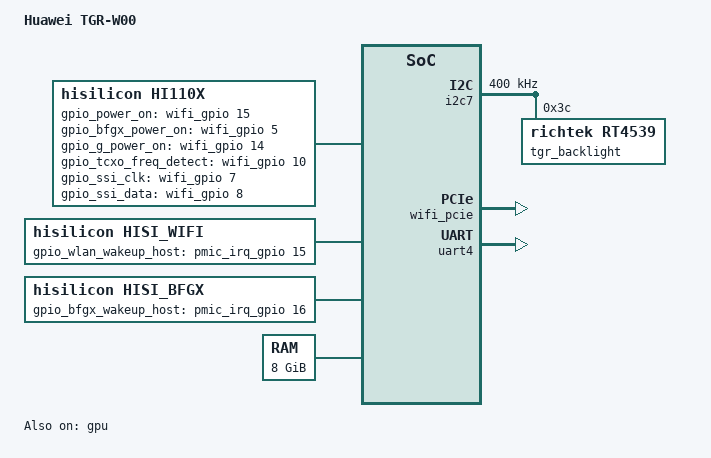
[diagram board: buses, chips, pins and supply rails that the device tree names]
// SPDX-License-Identifier: GPL-2.0
/*
 * Huawei TGR-W00, Hisilicon Kirin 9000s (charlotte)
 */

/dts-v1/;

#include "charlotte.dtsi"

&wifi_pcie {
	status = "okay";
};

&uart4 {
	status = "okay";
};

&gpu {
	status = "okay";
};

/ {
	model = "Huawei TGR-W00";
	compatible = "hisilicon,charlotte";

	hw_connectivity {
		compatible = "huawei,hw_connectivity";
		chip_type = "hisi";
	};

	wifi_customize {
		compatible = "hi110x,customize";
		ini_file_name = "/lib/firmware/hi11xx/cfg_tgr_w00_va.ini";
	};

	hi110x {
		compatible = "hisilicon,hi110x", "hisilicon,hi1102";
		hi110x,subchip_type = "hi1105";
		hi110x,asic_version;
		hi110x,power_prepare;
		hi110x,tcxo_gpio_level = <1>;
		huawei,pmu_clk32b = "clk_pmu32kb";
		hi110x,gpio_power_on = <&wifi_gpio 15 GPIO_ACTIVE_HIGH>;
		hi110x,gpio_wlan_power_on = <&touch_irq 14 GPIO_ACTIVE_HIGH>;
		hi110x,gpio_bfgx_power_on = <&wifi_gpio 5 GPIO_ACTIVE_HIGH>;
		hi110x,gpio_g_power_on = <&wifi_gpio 14 GPIO_ACTIVE_HIGH>;
		hi110x,gpio_tcxo_freq_detect = <&wifi_gpio 10 GPIO_ACTIVE_HIGH>;
		hi110x,gpio_ssi_clk = <&wifi_gpio 7 GPIO_ACTIVE_HIGH>;
		hi110x,gpio_ssi_data = <&wifi_gpio 8 GPIO_ACTIVE_HIGH>;
	};

	hisi_wifi {
		compatible = "hisilicon,hisi_wifi";
		hi110x,pcie_rc_idx = <0>;
		hi110x,gpio_sample_low = <0>;
		hi110x,gpio_host_wakeup_wlan = <&touch_irq 13 GPIO_ACTIVE_HIGH>;
		hi110x,gpio_wlan_wakeup_host = <&pmic_irq_gpio 15 GPIO_ACTIVE_HIGH>;
	};

	hisi_bfgx {
		compatible = "hisilicon,hisi_bfgx";
		hi110x,gpio_bfgx_wakeup_host = <&pmic_irq_gpio 16 GPIO_ACTIVE_HIGH>;
		hi110x,uart_port = "/dev/ttyHW4";
	};

	/* Physical panel metadata from the live stock TGR LCD configuration.
	 * The display hardware remains owned by the firmware handoff.
	 */
	tgr_panel: panel {
		/* Metadata only: no autonomous panel driver is available yet.
		 * Prevent fw_devlink waiting for a supplier that will not bind.
		 */
		status = "disabled";
		width-mm = <173>;
		height-mm = <258>;
	};

	framebuffer@34380000 {
		panel = <&tgr_panel>;
	};

	reserved-memory {
		/* Reusable scanout allocations, independent of the general 32 MiB
		 * CMA pool. Keep DMA below 4 GiB for the handoff diagnostic stage.
		 */
		dpu_cma: dpu-cma {
			compatible = "shared-dma-pool";
			reusable;
			/* Login greeter and user compositor can each keep three
			 * full-size BOs alive during the session transition.
			 */
			size = <0 0x10000000>;
			alignment = <0 0x00200000>;
			alloc-ranges = <0 0x3c000000 0 0xa4000000>;
		};
	};

	/* E880 DPU/DSI0 instance and SPI 480 are present together in the
	 * stock composer_manager and dsi@E8800000 nodes (not the E890 DPU).
	 * probe_only=1 retains simpledrm for explicit bounded diagnostics.
	 */
	dpu: display-controller@e8800000 {
		compatible = "hisilicon,charlotte-dpu-handoff";
		reg = <0 0xe8800000 0 0x100000>;
		interrupts = <GIC_SPI 480 IRQ_TYPE_LEVEL_HIGH>;
		memory-region = <&dpu_cma>;
		backlight = <&tgr_backlight>;
	};

	/* Stock TGR backlight bus; reset bit14/gate bit31 and GPIO230/231.
	 * LED on/off retains the firmware's brightness and IC setup.
	 */
	i2c7: i2c@ff88f000 {
		compatible = "hisilicon,charlotte-i2c7-v400";
		reg = <0 0xff88f000 0 0x1000>,
		      <0 0xffb85000 0 0x1000>,
		      <0 0xfb228794 0 8>,
		      <0 0xfb229794 0 8>;
		reg-names = "controller", "crg", "iomux", "pad";
		interrupts = <GIC_SPI 360 IRQ_TYPE_LEVEL_HIGH>;
		clk_rate = <0 112000000>;
		clock-frequency = <400000>;
		i2c-sda-hold-time-ns = <554>;
		i2c-digital-filter-width-ns = <9>;
		#address-cells = <1>;
		#size-cells = <0>;
		tgr_backlight: backlight@3c {
			compatible = "richtek,rt4539";
			reg = <0x3c>;
		};
	};

	chosen {
		bootargs = "earlycon=uart_v500,mmio32,0xffb82000 console=tty0 console=ttyHW0,115200 ignore_loglevel loglevel=8 log_buf_len=4M nokaslr panic=10";
		stdout-path = "serial0:115200n8";
		linux,initrd-start = <0x0 0x66800000>;
		linux,initrd-end = <0x0 0x66800000>;
	};

	memory@0 {
		device_type = "memory";
		/* TGR-W00 live stock FDT: 3.5 GiB below the MMIO hole,
		 * 4 GiB at 4 GiB and 512 MiB at 32 GiB. Keep the existing
		 * first 4 MiB exclusion and all firmware reservations.
		 */
		reg = <0x0 0x00400000 0x0 0xdfc00000>,
		      <0x1 0x00000000 0x1 0x00000000>,
		      <0x8 0x00000000 0x0 0x20000000>;
	};
};
